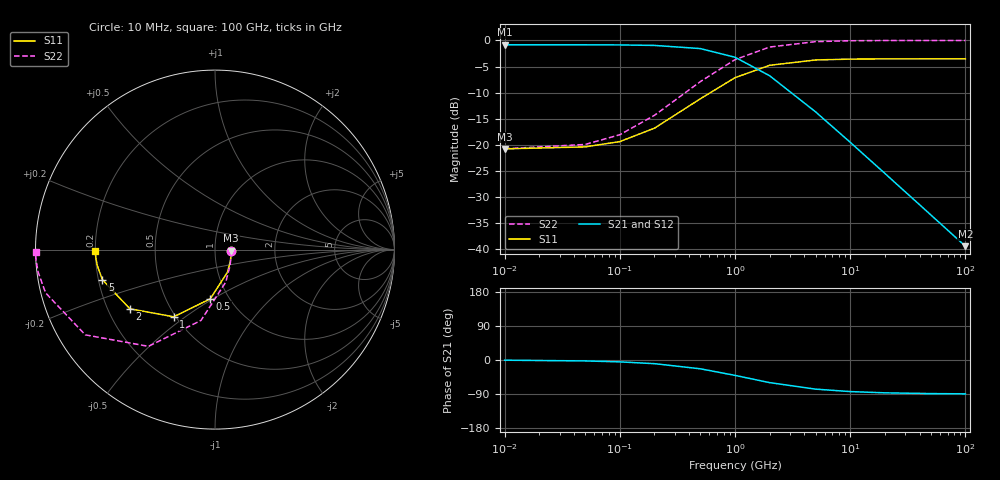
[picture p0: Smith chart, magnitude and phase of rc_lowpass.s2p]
! RC Lowpass 2-port: R=10 ohm series, C=5pF shunt
! 3dB freq of S21 ~ 1.17 GHz
! Format: RI (Real-Imaginary)
# GHz S RI R 50
! Freq  S11re S11im  S21re S21im  S12re S12im  S22re S22im
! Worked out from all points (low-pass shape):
!   12 points, 10 MHz to 100 GHz, reference 50 ohm
!   highest |S21| = -0.83 dB at 10 MHz (marker M1); lowest = -39.5 dB at 100 GHz (marker M2)
!   |S21| within 3 dB of the highest: start of sweep to 1.171 GHz
!   lowest |S11| = -20.8 dB at 10 MHz (marker M3), VSWR 1.20, Z = 60 - j0.785 ohm
!   |S11| at or under -10 dB: start of sweep to 647.8 MHz
!   |S22| runs from -20.8 to 0.0 dB; largest |S21 - S12| = 0
!   S11 on the Smith chart (normalised r, x): 10 MHz: 1.20, -0.02; 500 MHz: 0.82, -0.49; 1 GHz: 0.49, -0.45; 2 GHz: 0.29, -0.29; 5 GHz: 0.22, -0.13; 100 GHz: 0.20, -0.01
0.01  0.0909 -0.00649  0.909 -0.00779  0.909 -0.00779  0.0908 -0.00935
0.05  0.0895 -0.0324  0.9074 -0.0389  0.9074 -0.0389  0.0889 -0.0466
0.1  0.0854 -0.0644  0.9025 -0.0773  0.9025 -0.0773  0.083 -0.0928
0.2  0.0693 -0.1261  0.8832 -0.1513  0.8832 -0.1513  0.0598 -0.1816
0.5  -0.0266 -0.2742  0.7681 -0.3291  0.7681 -0.3291  -0.0783 -0.3949
1  -0.2298 -0.3743  0.5242 -0.4492  0.5242 -0.4492  -0.3709 -0.539
2  -0.4742 -0.3298  0.2309 -0.3957  0.2309 -0.3957  -0.7229 -0.4749
5  -0.6275 -0.1677  0.047 -0.2012  0.047 -0.2012  -0.9436 -0.2415
10  -0.6565 -0.0872  0.0122 -0.1047  0.0122 -0.1047  -0.9853 -0.1256
20  -0.6641 -0.0441  0.00309 -0.0529  0.00309 -0.0529  -0.9963 -0.0634
50  -0.6663 -0.0177  0.000495 -0.0212  0.000495 -0.0212  -0.9994 -0.0255
100  -0.6666 -0.00884  0.000124 -0.0106  0.000124 -0.0106  -0.9999 -0.0127
